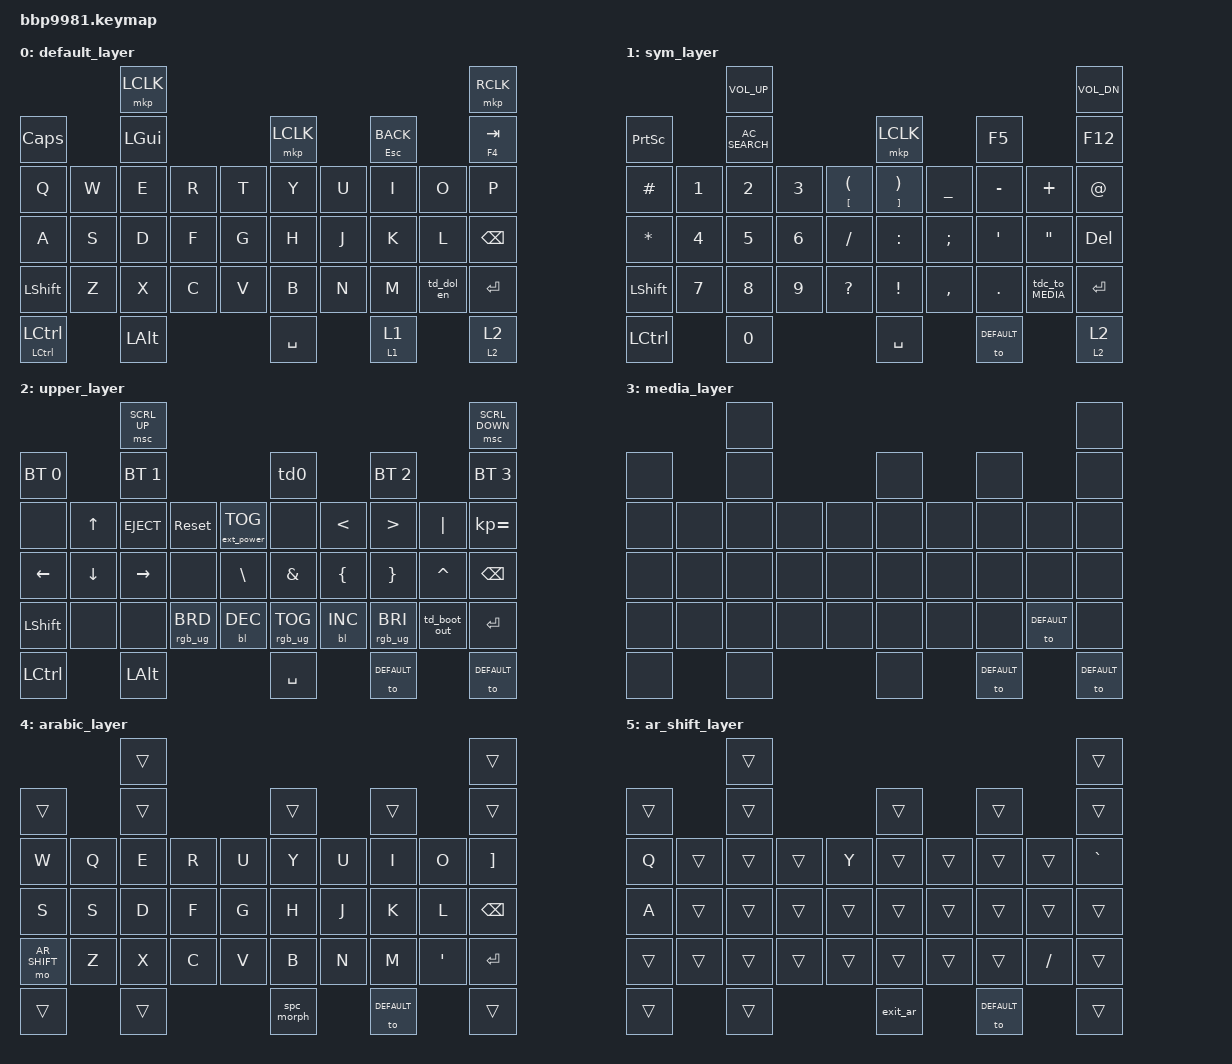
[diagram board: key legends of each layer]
/*
 * Copyright (c) 2025 ZitaoTech
 * P9981 Arabic "Sync Edition"
 * Features: 
 * - Ctrl+Space = Exit Arabic (Syncs with Mac)
 * - Shift (aA) = Alternative Letters (Sad/Dad, Seen/Sheen...)
 * SPDX-License-Identifier: MIT
 */

#include <behaviors.dtsi>
#include <dt-bindings/zmk/keys.h>
#include <dt-bindings/zmk/bt.h>
#include <dt-bindings/zmk/outputs.h>
#include <dt-bindings/zmk/mouse.h>
#include <dt-bindings/zmk/backlight.h>
#include <dt-bindings/zmk/ext_power.h>
#include <dt-bindings/zmk/rgb.h>

#define DEFAULT 0
#define SYM 1
#define UPPER 2
#define MEDIA 3
#define ARABIC 4
#define AR_SHIFT 5

#define SL_MO(layer) &sl_mo layer layer

&sl {
    release-after-ms = <3000>;
};

/ {
    macros {
        /* ماكرو الخروج الذكي: يرسل مسافة (مع الكنترول المضغوط) ثم يغير الطبقة */
        /* This ensures Mac switches language AND Keyboard switches layer */
        exit_ar: exit_arabic_macro {
            compatible = "zmk,behavior-macro";
            #binding-cells = <0>;
            bindings
                = <&kp SPACE>
                , <&to DEFAULT>;
        };
    };

    behaviors {
        /* تعريفات المصنع */
        td0: tap_dance_0 {
            compatible = "zmk,behavior-tap-dance";
            #binding-cells = <0>;
            tapping-term-ms = <400>;
            bindings = <&mkp LCLK>, <&bt BT_CLR>;
        };
        td_boot_out: td_boot_out {
            compatible = "zmk,behavior-tap-dance";
            #binding-cells = <0>;
            tapping-term-ms = <400>;            
            bindings = <&bootloader>, <&out OUT_TOG>;
        };
        tdc_to_MEDIA: td_mute_to_layer {
            compatible = "zmk,behavior-tap-dance";
            #binding-cells = <0>;
            tapping-term-ms = <400>;
            bindings = <&kp C_MUTE>, <&to MEDIA>;
        };
        sl_mo: behavior_sl_mo {
            compatible = "zmk,behavior-hold-tap";
            #binding-cells = <2>;
            flavor = "hold-preferred";      
            tapping-term-ms = <450>;       
            bindings = <&mo &sl>;          
        };
        sk_kp: behavior_sk_kp {
            compatible = "zmk,behavior-hold-tap";
            #binding-cells = <2>;
            flavor = "hold-preferred";      
            tapping-term-ms = <450>;        
            bindings = <&kp &sk>;          
        };

        /* --------------------------------------------------------- */
        /* السلوكيات الخاصة (Custom Behaviors)                      */
        /* --------------------------------------------------------- */

        /* زر المسافة الذكي: مسافة عادية، أو خروج عند ضغط كنترول */
        spc_morph: space_morph {
            compatible = "zmk,behavior-mod-morph";
            label = "SPACE_MORPH";
            #binding-cells = <0>;
            bindings = <&kp SPACE>, <&exit_ar>;
            mods = <(MOD_LCTL|MOD_RCTL)>; /* يعمل عند ضغط Ctrl */
        };

        /* زر الدولار للدخول للعربي فقط (Double Tap) */
        td_dol_en: tap_dance_dollar_en {
            compatible = "zmk,behavior-tap-dance";
            label = "TD_DOL_EN";
            #binding-cells = <0>;
            tapping-term-ms = <450>; 
            bindings = <&kp DLLR>, <&tog ARABIC>;
        };
    };

    keymap {
        compatible = "zmk,keymap";

        default_layer {
            bindings = <
                                 &mkp LCLK                                                                                         &mkp RCLK
    &kp CLCK                &kp LGUI                            &mkp LCLK                           &mt ESC K_BACK                     &mt F4 TAB
    &kp Q        &kp W      &kp E       &kp R     &kp T         &kp Y              &kp U            &kp I            &kp O             &kp P
    &kp A        &kp S      &kp D       &kp F     &kp G         &kp H              &kp J            &kp K            &kp L             &kp BSPC
    &kp LSHFT    &kp Z      &kp X       &kp C     &kp V         &kp B              &kp N            &kp M            &td_dol_en        &kp ENTER
    &sk_kp LCTRL LCTRL      &kp LALT                            &kp SPACE                           &sl_mo 1 1                         &sl_mo 2 2
            >;
        };

        sym_layer {
            bindings = <        
                 &kp C_VOL_UP                                                                                         &kp C_VOL_DN
    &kp PSCRN               &kp C_AC_SEARCH                 &mkp LCLK                           &kp F5                                 &kp F12 
    &kp HASH     &kp N1     &kp N2      &kp N3    &mt LBKT LPAR &mt RBKT RPAR      &kp UNDER         &kp MINUS        &kp PLUS          &kp AT
    &kp STAR     &kp N4     &kp N5      &kp N6    &kp SLASH     &kp COLON          &kp SEMI          &kp APOS         &kp DQT           &kp DEL
    &kp LSHFT    &kp N7     &kp N8      &kp N9    &kp QMARK     &kp EXCL           &kp COMMA         &kp DOT          &tdc_to_MEDIA     &kp ENTER
    &kp LCTRL               &kp N0                              &kp SPACE                           &to DEFAULT                        &sl_mo 2 2
            >;
        };

        upper_layer {
            bindings = <
                 &msc SCRL_UP                                                                                         &msc SCRL_DOWN
    &bt BT_SEL 0            &bt BT_SEL 1                        &td0                                &bt BT_SEL 2                       &bt BT_SEL 3
    &none        &kp UP     &kp C_EJECT &sys_reset      &ext_power EP_TOG &none            &kp LT           &kp GT          &kp PIPE          &kp KP_EQUAL
    &kp LEFT     &kp DOWN   &kp RIGHT   &none           &kp BSLH          &kp AMPS         &kp LBRC         &kp RBRC        &kp CARET         &kp BSPC
    &kp LSHFT    &none      &none       &rgb_ug RGB_BRD &bl BL_DEC        &rgb_ug RGB_TOG  &bl BL_INC       &rgb_ug RGB_BRI &td_boot_out      &kp ENTER
    &kp LCTRL               &kp LALT                                      &kp SPACE                         &to DEFAULT                        &to DEFAULT
            >;
        };

        media_layer {
            bindings = <
                 &none                                                                                                &none
    &none                   &none                               &none                               &none                                  &none
    &none        &none      &none       &none       &none         &none            &none            &none            &none             &none
    &none        &none      &none       &none       &none         &none            &none            &none            &none             &none
    &none        &none      &none       &none       &none         &none            &none            &none            &to DEFAULT       &none
    &none                   &none                                 &none                                 &to DEFAULT                        &to DEFAULT
            >;
        };

        /* --------------------------------------------------------- */
        /* LAYER 4: BASE ARABIC (الحروف الأساسية)                   */
        /* --------------------------------------------------------- */
        arabic_layer {
            bindings = <
                 &trans                                                                                               &trans
    &trans                  &trans                              &trans                              &trans                                 &trans
    /* Q=ص (W) | W=ض (Shift) | E=ث | R=ق | T=ع (U) | Y=غ (Shift) | U=ع | I=هـ | O=خ | P=د (RBKT) */
    &kp W        &kp Q      &kp E       &kp R     &kp U         &kp Y              &kp U            &kp I            &kp O             &kp RBKT
    
    /* A=س (S) | S=س | D=ي | F=ب | G=ل | H=ا | J=ت | K=ن | L=م | Backspace */
    &kp S        &kp S      &kp D       &kp F     &kp G         &kp H              &kp J            &kp K            &kp L             &kp BSPC
    
    /* Shift(aA)=Layer5 | Z=ئ | X=ء | C=ؤ | V=ر | B=لا | N=ى | M=ة | $=ط (APOS) | Enter */
    &mo AR_SHIFT &kp Z      &kp X       &kp C     &kp V         &kp B              &kp N            &kp M            &kp APOS          &kp RET
    
    /* Space Morph: Tap=Space, Ctrl+Space=Exit & Sync Mac */
    &trans                  &trans                              &spc_morph                          &to DEFAULT                        &trans
            >;
        };

        /* --------------------------------------------------------- */
        /* LAYER 5: SHIFT ARABIC (aA Key Held)                      */
        /* --------------------------------------------------------- */
        ar_shift_layer {
            bindings = <
                 &trans                                                                                               &trans
    &trans                  &trans                              &trans                              &trans                                 &trans
    /* Q=ض (Q) | T=غ (Y) | P=ذ (GRAVE) */
    &kp Q        &trans     &trans      &trans    &kp Y         &trans             &trans           &trans           &trans            &kp GRAVE
    
    /* A=ش (A) */
    &kp A        &trans     &trans      &trans    &trans        &trans             &trans           &trans           &trans            &trans
    
    /* $=ظ (SLASH) */
    &trans       &trans     &trans      &trans    &trans        &trans             &trans           &trans           &kp SLASH         &trans
    
    /* Exit logic remains available on Shift layer just in case */
    &trans                  &trans                              &exit_ar                            &to DEFAULT                        &trans
            >;
        };
    };
};
